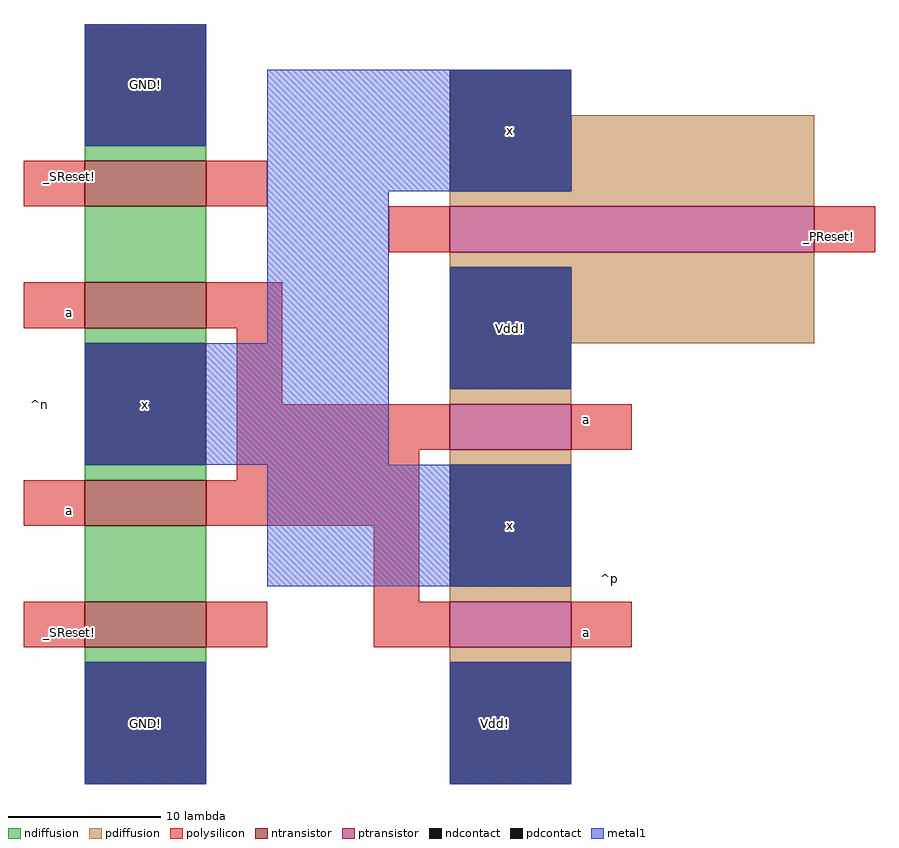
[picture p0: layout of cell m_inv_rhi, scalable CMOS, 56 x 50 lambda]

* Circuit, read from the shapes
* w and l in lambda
.subckt m_inv_rhi GND! Vdd! _PReset! _SReset! a x
M1 n1 _SReset! GND! VSUBS nfet w=8 l=3
M2 x a n1 VSUBS nfet w=8 l=3
M3 n2 a x VSUBS nfet w=8 l=3
M4 GND! _SReset! n2 VSUBS nfet w=8 l=3
M5 x a Vdd! NWELL pfet w=8 l=3 m=2
M6 x _PReset! Vdd! NWELL pfet w=24 l=3
.ends

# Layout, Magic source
magic
tech scmos
<< ndiffusion >>
rect 105 48 113 49
rect 105 40 113 45
rect 105 36 113 37
rect 105 27 113 28
rect 105 19 113 24
rect 105 15 113 16
<< pdiffusion >>
rect 137 46 153 51
rect 129 45 153 46
rect 129 41 153 42
rect 137 36 153 41
rect 129 32 137 33
rect 129 28 137 29
rect 129 19 137 20
rect 129 15 137 16
<< ntransistor >>
rect 105 45 113 48
rect 105 37 113 40
rect 105 24 113 27
rect 105 16 113 19
<< ptransistor >>
rect 129 42 153 45
rect 129 29 137 32
rect 129 16 137 19
<< polysilicon >>
rect 101 45 105 48
rect 113 45 117 48
rect 125 42 129 45
rect 153 42 157 45
rect 101 37 105 40
rect 113 37 118 40
rect 115 32 118 37
rect 115 29 129 32
rect 137 29 141 32
rect 115 27 127 29
rect 101 24 105 27
rect 113 24 127 27
rect 124 19 127 24
rect 101 16 105 19
rect 113 16 117 19
rect 124 16 129 19
rect 137 16 141 19
<< ndcontact >>
rect 105 49 113 57
rect 105 28 113 36
rect 105 7 113 15
<< pdcontact >>
rect 129 46 137 54
rect 129 33 137 41
rect 129 20 137 28
rect 129 7 137 15
<< metal1 >>
rect 105 49 113 57
rect 117 46 137 54
rect 117 36 125 46
rect 105 28 125 36
rect 129 33 137 41
rect 117 20 137 28
rect 105 7 113 15
rect 129 7 137 15
<< labels >>
rlabel polysilicon 104 17 104 17 3 _SReset!
rlabel polysilicon 104 47 104 47 3 _SReset!
rlabel ndcontact 109 32 109 32 1 x
rlabel ndcontact 109 53 109 53 5 GND!
rlabel ndcontact 109 11 109 11 1 GND!
rlabel polysilicon 104 25 104 25 3 a
rlabel pdcontact 133 24 133 24 1 x
rlabel space 99 7 105 57 7 ^n
rlabel pdcontact 133 50 133 50 5 x
rlabel polysilicon 138 31 138 31 7 a
rlabel pdcontact 132 11 132 11 1 Vdd!
rlabel pdcontact 133 37 133 37 5 Vdd!
rlabel polysilicon 104 38 104 38 3 a
rlabel polysilicon 138 17 138 17 3 a
rlabel space 137 7 142 34 3 ^p
rlabel polysilicon 154 43 154 43 1 _PReset!
<< end >>
